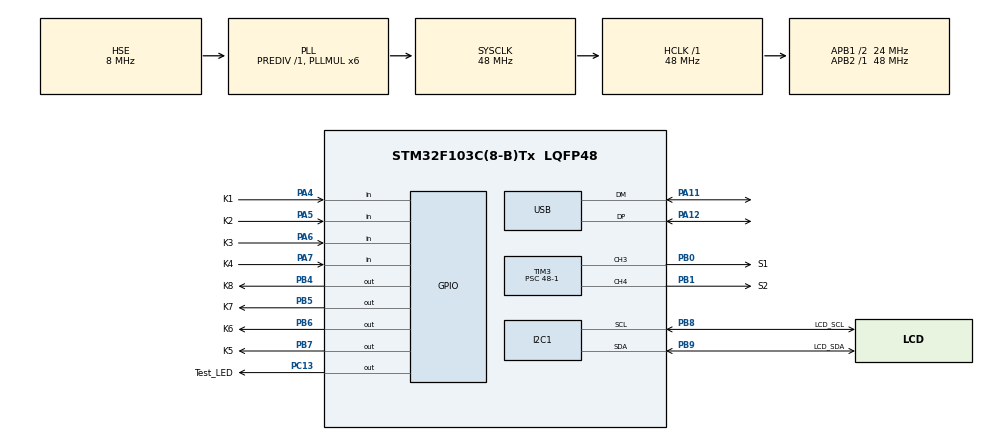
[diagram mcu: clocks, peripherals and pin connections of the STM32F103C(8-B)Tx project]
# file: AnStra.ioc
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Mcu.Family=STM32F1
Mcu.Name=STM32F103C(8-B)Tx
Mcu.Package=LQFP48
NVIC.PriorityGroup=NVIC_PRIORITYGROUP_4
NVIC.USB_LP_CAN1_RX0_IRQn=true\:0\:0\:false\:false\:true\:false\:true
PA11.Mode=Device
PA11.Signal=USB_DM
PA12.Mode=Device
PA12.Signal=USB_DP
PA13.Mode=Serial_Wire
PA13.Signal=SYS_JTMS-SWDIO
PA14.Mode=Serial_Wire
PA14.Signal=SYS_JTCK-SWCLK
PA4.GPIO_Label=K1
PA4.GPIO_PuPd=GPIO_PULLDOWN
PA4.Signal=GPIO_Input
PA5.GPIO_Label=K2
PA5.GPIO_PuPd=GPIO_PULLDOWN
PA5.Signal=GPIO_Input
PA6.GPIO_Label=K3
PA6.GPIO_PuPd=GPIO_PULLDOWN
PA6.Signal=GPIO_Input
PA7.GPIO_Label=K4
PA7.GPIO_PuPd=GPIO_PULLDOWN
PA7.Signal=GPIO_Input
PB0.GPIO_Label=S1
PB0.Signal=S_TIM3_CH3
PB1.GPIO_Label=S2
PB1.Signal=S_TIM3_CH4
PB4.GPIO_Label=K8
PB4.Signal=GPIO_Output
PB5.GPIO_Label=K7
PB5.Signal=GPIO_Output
PB6.GPIO_Label=K6
PB6.Signal=GPIO_Output
PB7.GPIO_Label=K5
PB7.Signal=GPIO_Output
PB8.GPIO_Label=LCD_SCL
PB8.Mode=I2C
PB8.Signal=I2C1_SCL
PB9.GPIO_Label=LCD_SDA
PB9.Mode=I2C
PB9.Signal=I2C1_SDA
PC13-TAMPER-RTC.GPIO_Label=Test_LED
PC13-TAMPER-RTC.Signal=GPIO_Output
PD0-OSC_IN.Mode=HSE-External-Oscillator
PD0-OSC_IN.Signal=RCC_OSC_IN
PD1-OSC_OUT.Mode=HSE-External-Oscillator
PD1-OSC_OUT.Signal=RCC_OSC_OUT
ProjectManager.HeapSize=0x200
ProjectManager.StackSize=0x400
ProjectManager.TargetToolchain=STM32CubeIDE
RCC.AHBFreq_Value=48000000
RCC.APB1CLKDivider=RCC_HCLK_DIV2
RCC.APB1Freq_Value=24000000
RCC.APB1TimFreq_Value=48000000
RCC.APB2Freq_Value=48000000
RCC.APB2TimFreq_Value=48000000
RCC.HCLKFreq_Value=48000000
RCC.PLLMUL=RCC_PLL_MUL6
RCC.PLLSourceVirtual=RCC_PLLSOURCE_HSE
RCC.SYSCLKFreq_VALUE=48000000
RCC.SYSCLKSource=RCC_SYSCLKSOURCE_PLLCLK
RCC.USBFreq_Value=48000000
SH.S_TIM3_CH3.0=TIM3_CH3,PWM Generation3 CH3
SH.S_TIM3_CH4.0=TIM3_CH4,PWM Generation4 CH4
TIM3.Channel-PWM\ Generation3\ CH3=TIM_CHANNEL_3
TIM3.Channel-PWM\ Generation4\ CH4=TIM_CHANNEL_4
TIM3.Period=20000-1
TIM3.Prescaler=48-1
USB_DEVICE.CLASS_NAME_FS=CDC
USB_DEVICE.VirtualMode=Cdc
USB_DEVICE.VirtualModeFS=Cdc_FS
VP_TIM3_VS_ClockSourceINT.Mode=Internal
VP_USB_DEVICE_VS_USB_DEVICE_CDC_FS.Mode=CDC_FS
board=custom

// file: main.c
/* USER CODE BEGIN Header */
/**
  ******************************************************************************
  * @file           : main.c
  * @brief          : Main program body
  ******************************************************************************
  * @attention
  *
  * <h2><center>&copy; Copyright (c) 2022 STMicroelectronics.
  * All rights reserved.</center></h2>
  *
  * This software component is licensed by ST under BSD 3-Clause license,
  * the "License"; You may not use this file except in compliance with the
  * License. You may obtain a copy of the License at:
  *                        opensource.org/licenses/BSD-3-Clause
  *
  ******************************************************************************
  */
/* USER CODE END Header */
#include "main.h"
#include "usb_device.h"

/* USER CODE BEGIN Includes */
#include "lcd.h"
#include "klawiatura.h"
#include "utillib.h"
#include "anstra.h"

#include "stdio.h"
#include "stdlib.h"
#include "string.h"
#include "math.h"
/* USER CODE END Includes */

I2C_HandleTypeDef hi2c1;

TIM_HandleTypeDef htim3;

/* USER CODE BEGIN PV */

char change = 0;
char change_t = 0;

//
//// USB?
//char dataT[70];
//uint32_t Len;
//uint8_t buffer[64];

/* USER CODE END PV */

void SystemClock_Config(void);
static void MX_GPIO_Init(void);
static void MX_TIM3_Init(void);
static void MX_I2C1_Init(void);

int main(void)
{

  /* MCU Configuration--------------------------------------------------------*/

  /* Reset of all peripherals, Initializes the Flash interface and the Systick. */
  HAL_Init();

  /* USER CODE BEGIN Init */
//	init_keyboard();

  /* USER CODE END Init */

  /* Configure the system clock */
  SystemClock_Config();

  /* Initialize all configured peripherals */
  MX_GPIO_Init();
  MX_USB_DEVICE_Init();
  MX_TIM3_Init();
  MX_I2C1_Init();
  /* USER CODE BEGIN 2 */

  init_keyboard();
  init_PWM();
  lcd_init();

  HAL_Delay(100);

  ha = 90; da = 0;

  set_ANSTRA_pos();

  int k;
  int tmp = -1;

  /* USER CODE END 2 */

  /* Infinite loop */
  /* USER CODE BEGIN WHILE */

  while (1)
  {
	  send_data();

	  if( change ){
		  height_angle(ha);
		  direction_angle(da);
		  if( status == 1 )
			  display_angle();
		  change = 0;
	  }

	  if( change_t ){
		  	  target_to_angle();
	  		  height_angle(ha);
	  		  direction_angle(da);
	  		  if( status == 1 )
	  			  display_angle();
	  		  change_t = 0;
	  	  }

	  k = keyboard();
	  if( k >= 0 && tmp == -1 ){
		  blink();
		  if( k == 15 ){
			  if( status == 0 )
				  get_ANSTRA_pos( get_input() );

			  if( status == 2 )
				  get_ANSTRA_angle( get_input() );

			  if( status == 3 )
				  get_ANSTRA_target( get_input() );
		  }
		  if( status == 1 ){
			  if( k == 3 ){
				  set_ANSTRA_angle();
			  }

			  if( k == 7 ){
				  set_ANSTRA_target();
			  }
		  }
		  else
			  save_input(k);
	  }

	  tmp = k;
	  HAL_Delay(100);

    /* USER CODE END WHILE */

  }
}

void SystemClock_Config(void)
{
  RCC_OscInitTypeDef RCC_OscInitStruct = {0};
  RCC_ClkInitTypeDef RCC_ClkInitStruct = {0};
  RCC_PeriphCLKInitTypeDef PeriphClkInit = {0};

  /** Initializes the RCC Oscillators according to the specified parameters
  * in the RCC_OscInitTypeDef structure.
  */
  RCC_OscInitStruct.OscillatorType = RCC_OSCILLATORTYPE_HSE;
  RCC_OscInitStruct.HSEState = RCC_HSE_ON;
  RCC_OscInitStruct.HSEPredivValue = RCC_HSE_PREDIV_DIV1;
  RCC_OscInitStruct.HSIState = RCC_HSI_ON;
  RCC_OscInitStruct.PLL.PLLState = RCC_PLL_ON;
  RCC_OscInitStruct.PLL.PLLSource = RCC_PLLSOURCE_HSE;
  RCC_OscInitStruct.PLL.PLLMUL = RCC_PLL_MUL6;
  if (HAL_RCC_OscConfig(&RCC_OscInitStruct) != HAL_OK)
  {
    Error_Handler();
  }
  /** Initializes the CPU, AHB and APB buses clocks
  */
  RCC_ClkInitStruct.ClockType = RCC_CLOCKTYPE_HCLK|RCC_CLOCKTYPE_SYSCLK
                              |RCC_CLOCKTYPE_PCLK1|RCC_CLOCKTYPE_PCLK2;
  RCC_ClkInitStruct.SYSCLKSource = RCC_SYSCLKSOURCE_PLLCLK;
  RCC_ClkInitStruct.AHBCLKDivider = RCC_SYSCLK_DIV1;
  RCC_ClkInitStruct.APB1CLKDivider = RCC_HCLK_DIV2;
  RCC_ClkInitStruct.APB2CLKDivider = RCC_HCLK_DIV1;

  if (HAL_RCC_ClockConfig(&RCC_ClkInitStruct, FLASH_LATENCY_1) != HAL_OK)
  {
    Error_Handler();
  }
  PeriphClkInit.PeriphClockSelection = RCC_PERIPHCLK_USB;
  PeriphClkInit.UsbClockSelection = RCC_USBCLKSOURCE_PLL;
  if (HAL_RCCEx_PeriphCLKConfig(&PeriphClkInit) != HAL_OK)
  {
    Error_Handler();
  }
}

static void MX_I2C1_Init(void)
{

  hi2c1.Instance = I2C1;
  hi2c1.Init.ClockSpeed = 100000;
  hi2c1.Init.DutyCycle = I2C_DUTYCYCLE_2;
  hi2c1.Init.OwnAddress1 = 0;
  hi2c1.Init.AddressingMode = I2C_ADDRESSINGMODE_7BIT;
  hi2c1.Init.DualAddressMode = I2C_DUALADDRESS_DISABLE;
  hi2c1.Init.OwnAddress2 = 0;
  hi2c1.Init.GeneralCallMode = I2C_GENERALCALL_DISABLE;
  hi2c1.Init.NoStretchMode = I2C_NOSTRETCH_DISABLE;
  if (HAL_I2C_Init(&hi2c1) != HAL_OK)
  {
    Error_Handler();
  }

}

static void MX_TIM3_Init(void)
{

  TIM_ClockConfigTypeDef sClockSourceConfig = {0};
  TIM_MasterConfigTypeDef sMasterConfig = {0};
  TIM_OC_InitTypeDef sConfigOC = {0};

  htim3.Instance = TIM3;
  htim3.Init.Prescaler = 48-1;
  htim3.Init.CounterMode = TIM_COUNTERMODE_UP;
  htim3.Init.Period = 20000-1;
  htim3.Init.ClockDivision = TIM_CLOCKDIVISION_DIV1;
  htim3.Init.AutoReloadPreload = TIM_AUTORELOAD_PRELOAD_DISABLE;
  if (HAL_TIM_Base_Init(&htim3) != HAL_OK)
  {
    Error_Handler();
  }
  sClockSourceConfig.ClockSource = TIM_CLOCKSOURCE_INTERNAL;
  if (HAL_TIM_ConfigClockSource(&htim3, &sClockSourceConfig) != HAL_OK)
  {
    Error_Handler();
  }
  if (HAL_TIM_PWM_Init(&htim3) != HAL_OK)
  {
    Error_Handler();
  }
  sMasterConfig.MasterOutputTrigger = TIM_TRGO_RESET;
  sMasterConfig.MasterSlaveMode = TIM_MASTERSLAVEMODE_DISABLE;
  if (HAL_TIMEx_MasterConfigSynchronization(&htim3, &sMasterConfig) != HAL_OK)
  {
    Error_Handler();
  }
  sConfigOC.OCMode = TIM_OCMODE_PWM1;
  sConfigOC.Pulse = 0;
  sConfigOC.OCPolarity = TIM_OCPOLARITY_HIGH;
  sConfigOC.OCFastMode = TIM_OCFAST_DISABLE;
  if (HAL_TIM_PWM_ConfigChannel(&htim3, &sConfigOC, TIM_CHANNEL_3) != HAL_OK)
  {
    Error_Handler();
  }
  if (HAL_TIM_PWM_ConfigChannel(&htim3, &sConfigOC, TIM_CHANNEL_4) != HAL_OK)
  {
    Error_Handler();
  }
  HAL_TIM_MspPostInit(&htim3);

}

static void MX_GPIO_Init(void)
{
  GPIO_InitTypeDef GPIO_InitStruct = {0};

  /* GPIO Ports Clock Enable */
  __HAL_RCC_GPIOC_CLK_ENABLE();
  __HAL_RCC_GPIOD_CLK_ENABLE();
  __HAL_RCC_GPIOA_CLK_ENABLE();
  __HAL_RCC_GPIOB_CLK_ENABLE();

  /*Configure GPIO pin Output Level */
  HAL_GPIO_WritePin(Test_LED_GPIO_Port, Test_LED_Pin, GPIO_PIN_RESET);

  /*Configure GPIO pin Output Level */
  HAL_GPIO_WritePin(GPIOB, K8_Pin|K7_Pin|K6_Pin|K5_Pin, GPIO_PIN_RESET);

  /*Configure GPIO pin : Test_LED_Pin */
  GPIO_InitStruct.Pin = Test_LED_Pin;
  GPIO_InitStruct.Mode = GPIO_MODE_OUTPUT_PP;
  GPIO_InitStruct.Pull = GPIO_NOPULL;
  GPIO_InitStruct.Speed = GPIO_SPEED_FREQ_LOW;
  HAL_GPIO_Init(Test_LED_GPIO_Port, &GPIO_InitStruct);

  /*Configure GPIO pins : K1_Pin K2_Pin K3_Pin K4_Pin */
  GPIO_InitStruct.Pin = K1_Pin|K2_Pin|K3_Pin|K4_Pin;
  GPIO_InitStruct.Mode = GPIO_MODE_INPUT;
  GPIO_InitStruct.Pull = GPIO_PULLDOWN;
  HAL_GPIO_Init(GPIOA, &GPIO_InitStruct);

  /*Configure GPIO pins : K8_Pin K7_Pin K6_Pin K5_Pin */
  GPIO_InitStruct.Pin = K8_Pin|K7_Pin|K6_Pin|K5_Pin;
  GPIO_InitStruct.Mode = GPIO_MODE_OUTPUT_PP;
  GPIO_InitStruct.Pull = GPIO_NOPULL;
  GPIO_InitStruct.Speed = GPIO_SPEED_FREQ_LOW;
  HAL_GPIO_Init(GPIOB, &GPIO_InitStruct);

}

void Error_Handler(void)
{
}

/************************ (C) COPYRIGHT STMicroelectronics *****END OF FILE****/
